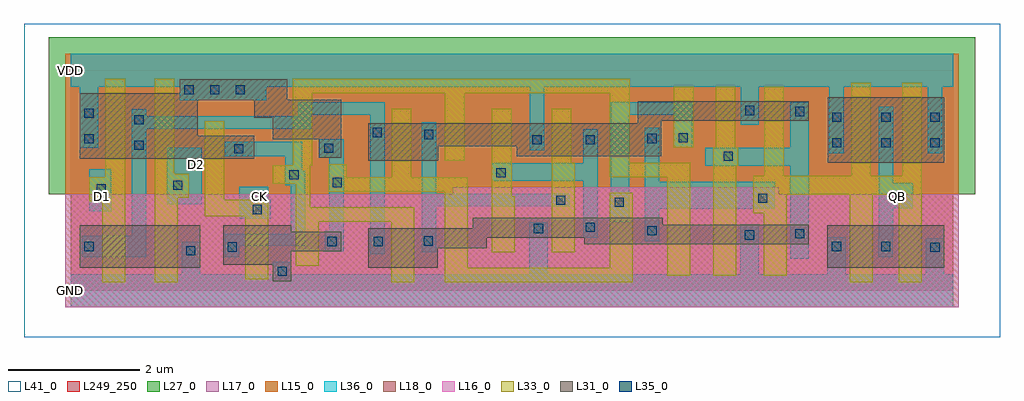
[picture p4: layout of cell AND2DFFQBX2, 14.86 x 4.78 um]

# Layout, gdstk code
import gdstk
lib = gdstk.Library(unit=1e-6, precision=1e-09)
def R(c, l, rs):  # rectangles x0, y0, x1, y1
    for r in rs: c.add(gdstk.rectangle(r[:2], r[2:], *l))
def A(c, l, x, y, w, h, nx, ny, dx, dy):  # array of equal rectangles
    R(c, l, [(x+i*dx, y+j*dy, x+i*dx+w, y+j*dy+h) for i in range(nx) for j in range(ny)])
def P(c, l, *ps):  # polygons
    for p in ps: c.add(gdstk.Polygon(p, *l))
L15_0 = (15, 0)
L16_0 = (16, 0)
L17_0 = (17, 0)
L18_0 = (18, 0)
L27_0 = (27, 0)
L31_0 = (31, 0)
L33_0 = (33, 0)
L35_0 = (35, 0)
L36_0 = (36, 0)
L41_0 = (41, 0)
L249_250 = (249, 250)

and2dffqbx2 = lib.new_cell('AND2DFFQBX2')
P(and2dffqbx2, L15_0, [(-0.08,1.47),(-0.08,3.61),(13.52,3.61),(13.52,1.47),(10.778,1.47),(10.778,1.58),(5.816,1.58),(5.816,1.47)])
P(and2dffqbx2, L16_0, [(-0.08,-0.25),(-0.08,1.47),(5.816,1.47),(5.816,1.58),(10.778,1.58),(10.778,1.47),(13.52,1.47),(13.52,-0.25)])
P(and2dffqbx2, L17_0, [(-0.08,1.47),(-0.08,3.61),(13.52,3.61),(13.52,1.47),(10.778,1.47),(10.778,1.58),(5.816,1.58),(5.816,1.47)])
P(and2dffqbx2, L18_0, [(-0.08,-0.25),(-0.08,1.47),(5.816,1.47),(5.816,1.58),(10.778,1.58),(10.778,1.47),(13.52,1.47),(13.52,-0.25)])
P(and2dffqbx2, L27_0, [(-0.33,1.47),(-0.33,3.86),(13.77,3.86),(13.77,1.47),(10.778,1.47),(10.778,1.58),(5.816,1.58),(5.816,1.47)])
R(and2dffqbx2, L31_0, [(0.14,0.35,1.97,1), (11.52,0.35,13.3,1), (11.524,1.95,13.3,2.95)])
P(and2dffqbx2, L31_0, [(1.66,2.009),(1.66,2.01),(0.14,2.01),(0.14,3.01),(1.662,3.01),(1.662,3.22),(3.299,3.22),(3.299,2.91),(4.123,2.91),(4.123,2.024),(3.779,2.024),(3.779,2.31),(3.079,2.31),(3.079,2.639),(2.797,2.639),(2.797,2.901),(1.939,2.901),(1.939,2.359),(2.799,2.359),(2.799,2.009)],
  [(4.528,1.98),(4.528,2.55),(8.638,2.55),(8.638,2.887),(11.24,2.887),(11.24,2.587),(8.993,2.587),(8.993,2.05),(6.793,2.05),(6.793,2.2),(5.597,2.2),(5.597,1.98)],
  [(4.529,0.35),(4.529,0.95),(6.119,0.95),(6.119,1.11),(9.014,1.11),(9.014,1.01),(11.24,1.01),(11.24,0.71),(7.823,0.71),(7.823,0.81),(6.339,0.81),(6.339,0.65),(5.588,0.65),(5.588,0.35)],
  [(3.08,0.148),(3.08,0.397),(2.32,0.397),(2.32,0.997),(3.36,0.997),(3.36,0.902),(4.124,0.902),(4.124,0.602),(3.36,0.602),(3.36,0.148)])
R(and2dffqbx2, L33_0, [(9.186,2.19,9.486,3.107)])
P(and2dffqbx2, L33_0, [(7.323,0.59),(7.323,2.77),(7.623,2.77),(7.623,1.95),(7.673,1.95),(7.673,0.59)],
  [(2.66,0.177),(2.66,1.138),(2.039,1.138),(2.039,2.579),(2.339,2.579),(2.339,1.388),(3.01,1.388),(3.01,0.177)],
  [(9.786,0.23),(9.786,2.188),(9.82,2.188),(9.82,3.107),(10.12,3.107),(10.12,2.188),(10.161,2.188),(10.161,1.908),(10.136,1.908),(10.136,0.23)],
  [(6.409,0.59),(6.409,1.743),(6.413,1.743),(6.413,2.77),(6.713,2.77),(6.713,1.441),(6.759,1.441),(6.759,0.59)],
  [(11.86,0.13),(11.86,1.46),(10.9,1.46),(10.9,0.23),(10.55,0.23),(10.55,1.182),(10.396,1.182),(10.396,1.755),(10.56,1.755),(10.56,3.107),(10.86,3.107),(10.86,1.755),(11.884,1.755),(11.884,3.17),(12.184,3.17),(12.184,1.755),(12.66,1.755),(12.66,3.17),(12.96,3.17),(12.96,0.13),(12.61,0.13),(12.61,1.46),(12.21,1.46),(12.21,0.13)],
  [(5.699,0.13),(5.699,1.51),(3.92,1.51),(3.92,1.924),(4.202,1.924),(4.202,1.73),(4.888,1.73),(4.888,2.77),(5.188,2.77),(5.188,1.73),(6.049,1.73),(6.049,0.35),(8.212,0.35),(8.212,1.49),(8.562,1.49),(8.562,0.13)],
  [(4.884,0.13),(4.884,1.05),(3.78,1.05),(3.78,0.382),(3.43,0.382),(3.43,1.629),(3.08,1.629),(3.08,1.909),(3.379,1.909),(3.379,3.23),(8.512,3.23),(8.512,1.95),(9.434,1.95),(9.434,0.23),(9.084,0.23),(9.084,1.73),(8.212,1.73),(8.212,3.01),(5.998,3.01),(5.998,1.98),(5.698,1.98),(5.698,3.01),(3.679,3.01),(3.679,1.909),(3.65,1.909),(3.65,1.27),(5.234,1.27),(5.234,0.13)],
  [(1.28,0.13),(1.28,3.23),(1.58,3.23),(1.58,1.781),(1.799,1.781),(1.799,1.419),(1.63,1.419),(1.63,0.13)],
  [(0.48,0.13),(0.48,1.364),(0.286,1.364),(0.286,1.726),(0.53,1.726),(0.53,3.23),(0.83,3.23),(0.83,0.13)])
A(and2dffqbx2, L35_0, 1.732, 2.99, 0.14, 0.14, 3, 1, 0.39, 0)
R(and2dffqbx2, L35_0, [(3.15,0.228,3.29,0.368), (1.76,0.54,1.9,0.68), (13.09,0.593,13.23,0.733), (2.39,0.598,2.53,0.738), (0.21,0.605,0.35,0.745), (11.59,0.605,11.73,0.745), (12.34,0.605,12.48,0.745), (4.614,0.68,4.754,0.82), (3.91,0.682,4.05,0.822), (5.374,0.69,5.514,0.83), (10.266,0.78,10.406,0.92), (11.03,0.797,11.17,0.937), (8.783,0.845,8.923,0.985), (7.053,0.88,7.193,1.02), (7.843,0.9,7.983,1.04), (2.77,1.167,2.91,1.307), (8.282,1.28,8.422,1.42), (7.393,1.31,7.533,1.45), (10.466,1.342,10.606,1.482), (0.394,1.481,0.534,1.621), (1.561,1.536,1.701,1.676), (3.99,1.58,4.13,1.72), (3.331,1.699,3.471,1.839), (6.483,1.73,6.623,1.87), (9.944,1.978,10.084,2.118), (2.489,2.095,2.629,2.235), (3.858,2.1,3.998,2.24), (0.97,2.147,1.11,2.287), (11.594,2.185,11.734,2.325), (12.344,2.185,12.484,2.325), (13.09,2.185,13.23,2.325), (7.031,2.23,7.171,2.37), (7.843,2.23,7.983,2.37), (0.21,2.245,0.35,2.385), (8.783,2.25,8.923,2.39), (9.256,2.26,9.396,2.4), (5.384,2.31,5.524,2.45), (4.598,2.34,4.738,2.48), (0.97,2.537,1.11,2.677), (11.594,2.575,11.734,2.715), (12.344,2.575,12.484,2.715), (13.09,2.575,13.23,2.715), (0.21,2.635,0.35,2.775), (11.03,2.66,11.17,2.8), (10.27,2.677,10.41,2.817)])
R(and2dffqbx2, L36_0, [(0.285,1.212,0.617,1.851), (1.471,1.321,1.993,2.181)])
P(and2dffqbx2, L36_0, [(8.743,0.755),(8.743,2.48),(8.963,2.48),(8.963,1.663),(10.72,1.663),(10.72,1.252),(8.963,1.252),(8.963,0.755)],
  [(7.803,0.81),(7.803,1.68),(6.413,1.68),(6.413,1.94),(7.803,1.94),(7.803,2.46),(8.023,2.46),(8.023,0.81)],
  [(8.223,1.047),(8.223,2.87),(9.466,2.87),(9.466,2.19),(9.186,2.19),(9.186,2.68),(8.503,2.68),(8.503,1.047)],
  [(2.569,1.097),(2.569,1.582),(3.006,1.582),(3.006,1.393),(3.044,1.393),(3.044,1.097)],
  [(11.554,2.095),(11.554,3.11),(10.48,3.11),(10.48,2.53),(10.2,2.53),(10.2,3.11),(7.211,3.11),(7.211,2.14),(6.991,2.14),(6.991,3.11),(2.981,3.11),(2.981,2.9),(1.662,2.9),(1.662,3.11),(0.42,3.11),(0.42,2.175),(0.14,2.175),(0.14,3.11),(0,3.11),(0,3.61),(13.44,3.61),(13.44,3.11),(13.27,3.11),(13.27,2.095),(13.05,2.095),(13.05,3.11),(11.774,3.11),(11.774,2.095)],
  [(5.344,0.59),(5.344,2.57),(5.564,2.57),(5.564,1.475),(7.603,1.475),(7.603,1.285),(5.564,1.285),(5.564,0.59)],
  [(3.87,0.592),(3.87,0.912),(3.937,0.912),(3.937,2.025),(3.784,2.025),(3.784,2.31),(4.157,2.31),(4.157,0.592)],
  [(0,-0.25),(0,0.25),(1.69,0.25),(1.69,0.75),(1.97,0.75),(1.97,0.25),(3.08,0.25),(3.08,0.443),(3.36,0.443),(3.36,0.25),(6.983,0.25),(6.983,1.045),(7.263,1.045),(7.263,0.25),(10.196,0.25),(10.196,1.012),(10.476,1.012),(10.476,0.25),(11.52,0.25),(11.52,0.815),(11.8,0.815),(11.8,0.25),(13.02,0.25),(13.02,0.803),(13.3,0.803),(13.3,0.25),(13.44,0.25),(13.44,-0.25)],
  [(10.96,0.49),(10.96,1.903),(9.666,1.903),(9.666,2.178),(10.96,2.178),(10.96,2.87),(11.24,2.87),(11.24,0.49)],
  [(2.35,0.508),(2.35,0.873),(3.35,0.873),(3.35,1.61),(3.271,1.61),(3.271,2.05),(2.343,2.05),(2.343,2.27),(3.526,2.27),(3.526,1.83),(3.57,1.83),(3.57,0.683),(2.57,0.683),(2.57,0.508)],
  [(0.17,0.515),(0.17,0.835),(0.93,0.835),(0.93,2.767),(1.15,2.767),(1.15,2.66),(3.468,2.66),(3.468,2.87),(4.78,2.87),(4.78,0.56),(4.56,0.56),(4.56,0.59),(4.556,0.59),(4.556,0.91),(4.56,0.91),(4.56,2.68),(3.658,2.68),(3.658,2.47),(1.15,2.47),(1.15,0.515)],
  [(12.3,0.515),(12.3,0.835),(12.304,0.835),(12.304,2.805),(12.524,2.805),(12.524,1.64),(12.823,1.64),(12.823,1.255),(12.524,1.255),(12.524,0.807),(12.52,0.807),(12.52,0.515)])
R(and2dffqbx2, L41_0, [(-0.71,-0.708,14.15,4.068)])
R(and2dffqbx2, L249_250, [(0,0,13.44,3.36)])
and2dffqbx2.add(gdstk.Label('QB', (12.595,1.44), layer=211, texttype=0))
and2dffqbx2.add(gdstk.Label('D1', (0.48,1.44), layer=211, texttype=0))
and2dffqbx2.add(gdstk.Label('D2', (1.92,1.92), layer=211, texttype=0))
and2dffqbx2.add(gdstk.Label('CK', (2.88,1.44), layer=211, texttype=0))
and2dffqbx2.add(gdstk.Label('VDD', (0,3.36), layer=211, texttype=0))
and2dffqbx2.add(gdstk.Label('GND', (0,0), layer=211, texttype=0))

lib.write_gds('AND2DFFQBX2.gds')
